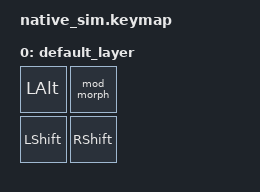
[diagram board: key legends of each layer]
#include <dt-bindings/zmk/keys.h>
#include <behaviors.dtsi>
#include <dt-bindings/zmk/input_matrix_mock.h>

/ {
    behaviors {
        mod_morph: mod_morph {
            compatible = "zmk,behavior-mod-morph";
            #binding-cells = <0>;
            bindings = <&kp A>, <&kp LS(B)>;  // implicit mod overwrite
            mods = <(MOD_LSFT|MOD_RSFT)>;
        };
    };

    keymap {
        compatible = "zmk,keymap";

        default_layer {
            bindings = <
                &kp LEFT_ALT &mod_morph
                &kp LEFT_SHIFT &kp RIGHT_SHIFT
            >;
        };
    };
};

&matrix {
    events = <
        ZMK_MOCK_PRESS(1,0,10)
        ZMK_MOCK_PRESS(0,1,10)
        ZMK_MOCK_RELEASE(0,1,10)
        ZMK_MOCK_RELEASE(1,0,10)
    >;
};

